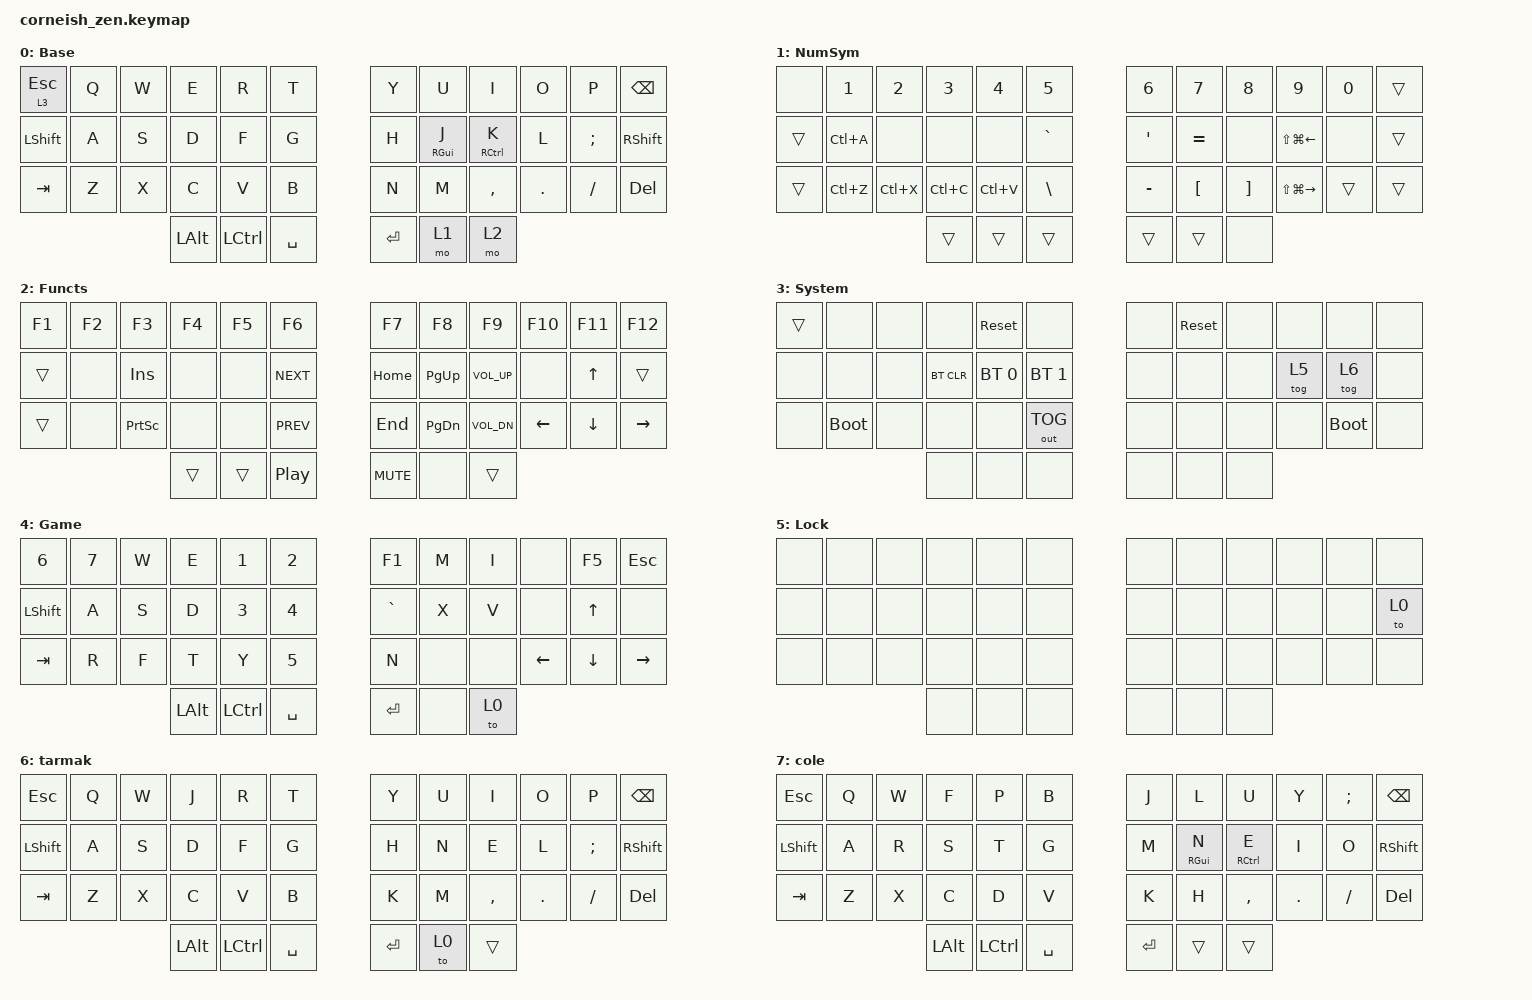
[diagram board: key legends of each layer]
#include <behaviors.dtsi>
#include <dt-bindings/zmk/bt.h>
#include <dt-bindings/zmk/keys.h>
#include <dt-bindings/zmk/outputs.h>

#define KEYS_L 0 1 2 3 4 5 12 13 14 15 16 17 24 25 26 27 28 29  // Left-hand keys
#define KEYS_R 6 7 8 9 10 11 18 19 20 21 22 23 30 31 32 33 34 35  // Right-hand keys
#define THUMBS 36 37 38 39 40 41  // Thumb keys

// #define QWERTY 0
// #define NUMSYM 1
// #define CONFIG 2
// #define SYSTEM 3
// #define GAMING 4
// #define LOCKED 5

/ {
    chosen {
        zmk,matrix_transform = &default_transform;

        //only relevant for 3x5 keyboards, otherwise leave commented
        //zmk,matrix_transform = &five_column_transform;
    };
};

&lt {
    quick-tap-ms = <350>;
    flavor = "tap-preferred";
    global-quick-tap;
    tapping-term-ms = <175>;
};

/ {
    behaviors {
        hm: homerow_mods {
            compatible = "zmk,behavior-hold-tap";
            label = "hm_mods";
            #binding-cells = <2>;
            tapping_term_ms = <200>;
            flavor = "tap-preferred";
            quick-tap-ms = <125>;
            global-quick-tap;
            bindings = <&kp>, <&kp>;
        };

        td_mt: tap_dance_mod_tap {
            compatible = "zmk,behavior-tap-dance";
            label = "TAP_DANCE_MOD_TAP";
            #binding-cells = <0>;
            tapping-term-ms = <150>;

            //in order: single press, double tap

            bindings = <&kp Z>, <&tog 5>;
        };
    };

    keymap {
        compatible = "zmk,keymap";

        default_layer {
            label = "Base";

            // ╭─────────────┬─────────────┬─────────────┬─────────────┬─────────────┬─────────────╮  ╭─────────────┬─────────────┬─────────────┬─────────────┬─────────────┬─────────────╮
            // ├ ESC/layer3  ┼      Q      ┼      W      ┼      E      ┼      R      ┼      T      ┤ ├      Y      ┼      U      ┼      I      ┼      O      ┼      P      ┼  BACKSPACE  ┤
            // ├─────────────┼─────────────┼─────────────┼─────────────┼─────────────┼─────────────┤ ├─────────────┼─────────────┼─────────────┼─────────────┼─────────────┼─────────────┤
            // ├   LSHIFT    ┼      A      ┼      S      ┼      D      ┼      F      ┼      G      ┤ ├      H      ┼    RWIN/J   ┼   RCTRL/K   ┼      L      ┼      ;      ┼   RSHIFT    ┤
            // ├─────────────┼─────────────┼─────────────┼─────────────┼─────────────┼─────────────┤ ├─────────────┼─────────────┼─────────────┼─────────────┼─────────────┼─────────────┤
            // ├     TAB     ┼      Z      ┼      X      ┼      C      ┼      V      ┼      B      ┤ ├      N      ┼      M      ┼      ,      ┼      .      ┼      /      ┼   DELETE    ┤
            // ╰───────────────────────────┴─────────────┼─────────────┼─────────────┼─────────────┤ ├─────────────┼─────────────┼─────────────┼─────────────┴───────────────────────────╯
            //                                           ├     LALT    ┼    LCTRL    ┼    SPACE    ┤ ├    ENTER    ┼   layer1    ┼    layer2   ┤
            //                                           ╰─────────────┴─────────────┴─────────────╯ ╰─────────────┴─────────────┴─────────────╯

            bindings = <
&lt 3 ESC  &kp Q  &kp W  &kp E     &kp R      &kp T        &kp Y    &kp U       &kp I        &kp O    &kp P     &kp BSPC
&kp LSHFT  &kp A  &kp S  &kp D     &kp F      &kp G        &kp H    &hm RGUI J  &hm RCTRL K  &kp L    &kp SEMI  &kp RSHFT
&kp TAB    &kp Z  &kp X  &kp C     &kp V      &kp B        &kp N    &kp M       &kp COMMA    &kp DOT  &kp FSLH  &kp DEL
                         &kp LALT  &kp LCTRL  &kp SPACE    &kp RET  &mo 1       &mo 2
            >;
        };

        num_layer {
            label = "NumSym";

            // ╭─────────────┬─────────────┬─────────────┬─────────────┬─────────────┬─────────────╮  ╭─────────────┬─────────────┬─────────────┬─────────────┬─────────────┬─────────────╮
            // ├             ┼      1      ┼     2/@     ┼      3      ┼      4      ┼      5      ┤ ├      6      ┼      7      ┼      8      ┼      9      ┼      0      ┼  BACKSPACE  ┤
            // ├─────────────┼─────────────┼─────────────┼─────────────┼─────────────┼─────────────┤ ├─────────────┼─────────────┼─────────────┼─────────────┼─────────────┼─────────────┤
            // ├   LSHIFT    ┼             ┼             ┼             ┼             ┼      `      ┤ ├      '      ┼      =      ┼             ┼             ┼      ;      ┼   RSHIFT    ┤
            // ├─────────────┼─────────────┼─────────────┼─────────────┼─────────────┼─────────────┤ ├─────────────┼─────────────┼─────────────┼─────────────┼─────────────┼─────────────┤
            // ├             ┼             ┼             ┼             ┼             ┼      \      ┤ ├      -      ┼      [      ┼      ]      ┼      .      ┼      /      ┼   DELETE    ┤
            // ╰───────────────────────────┴─────────────┼─────────────┼─────────────┼─────────────┤ ├─────────────┼─────────────┼─────────────┼─────────────┴───────────────────────────╯
            //                                           ├     LALT    ┼    LCTRL    ┼    SPACE    ┤ ├    ENTER    ┼     Base    ┼             ┤
            //                                           ╰─────────────┴─────────────┴─────────────╯ ╰─────────────┴─────────────┴─────────────╯

            bindings = <
&none   &kp N1     &kp N2     &kp N3     &kp N4     &kp N5       &kp N6     &kp N7     &kp N8    &kp N9             &kp N0  &trans
&trans  &kp LC(A)  &none      &none      &none      &kp GRAVE    &kp SQT    &kp EQUAL  &none     &kp LS(LG(LEFT))   &none   &trans
&trans  &kp LC(Z)  &kp LC(X)  &kp LC(C)  &kp LC(V)  &kp BSLH     &kp MINUS  &kp LBKT   &kp RBKT  &kp LS(LG(RIGHT))  &trans  &trans
                              &trans     &trans     &trans       &trans     &trans     &none
            >;
        };

        config_layer {
            label = "Functs";

            // ╭─────────────┬─────────────┬─────────────┬─────────────┬─────────────┬─────────────╮  ╭─────────────┬─────────────┬─────────────┬─────────────┬─────────────┬─────────────╮
            // ├      F1     ┼      F2     ┼      F3     ┼      F4     ┼      F5     ┼      F6     ┤ ├     F7      ┼     F8      ┼      F9     ┼    F10      ┼    F11      ┼     F12     ┤
            // ├─────────────┼─────────────┼─────────────┼─────────────┼─────────────┼─────────────┤ ├─────────────┼─────────────┼─────────────┼─────────────┼─────────────┼─────────────┤
            // ├   LSHIFT    ┼    INSERT   ┼             ┼  MediaPrev  ┼  MediaNext  ┼    Vol Up   ┤ ├    PGUP     ┼    HOME     ┼             ┼             ┼     UP      ┼   RSHIFT    ┤
            // ├─────────────┼─────────────┼─────────────┼─────────────┼─────────────┼─────────────┤ ├─────────────┼─────────────┼─────────────┼─────────────┼─────────────┼─────────────┤
            // ├             ┼             ┼             ┼             ┼             ┼    Vol Dn   ┤ ├    PGDN     ┼    END      ┼             ┼    LEFT     ┼    DOWN     ┼    RIGHT    ┤
            // ╰───────────────────────────┴─────────────┼─────────────┼─────────────┼─────────────┤ ├─────────────┼─────────────┼─────────────┼─────────────┴───────────────────────────╯
            //                                           ├     LALT    ┼    LCTRL    ┼             ┤ ├    Mute     ┼             ┼     Base    ┤
            //                                           ╰─────────────┴─────────────┴─────────────╯ ╰─────────────┴─────────────┴─────────────╯

            bindings = <
&kp F1  &kp F2  &kp F3           &kp F4  &kp F5  &kp F6        &kp F7      &kp F8     &kp F9           &kp F10   &kp F11   &kp F12
&trans  &none   &kp INS          &none   &none   &kp C_NEXT    &kp HOME    &kp PG_UP  &kp C_VOLUME_UP  &none     &kp UP    &trans
&trans  &none   &kp PRINTSCREEN  &none   &none   &kp C_PREV    &kp END     &kp PG_DN  &kp C_VOL_DN     &kp LEFT  &kp DOWN  &kp RIGHT
                                 &trans  &trans  &kp C_PP      &kp C_MUTE  &none      &trans
            >;
        };

        system_layer {
            label = "System";

            // ╭─────────────┬─────────────┬─────────────┬─────────────┬─────────────┬─────────────╮  ╭─────────────┬─────────────┬─────────────┬─────────────┬─────────────┬─────────────╮
            // ├    Base     ┼             ┼             ┼             ┼  Soft Reset ┼             ┤ ├             ┼ Soft Reset  ┼             ┼             ┼             ┼             ┤
            // ├─────────────┼─────────────┼─────────────┼─────────────┼─────────────┼─────────────┤ ├─────────────┼─────────────┼─────────────┼─────────────┼─────────────┼─────────────┤
            // ├             ┼             ┼             ┼  BT CLEAR   ┼    BT 0     ┼     BT 1    ┤ ├             ┼             ┼             ┼    LOCK     ┼             ┼             ┤
            // ├─────────────┼─────────────┼─────────────┼─────────────┼─────────────┼─────────────┤ ├─────────────┼─────────────┼─────────────┼─────────────┼─────────────┼─────────────┤
            // ├             ┼  BOOTLOADER ┼             ┼             ┼             ┼  Output Tog ┤ ├             ┼             ┼             ┼             ┼  BOOTLOADER ┼             ┤
            // ╰───────────────────────────┴─────────────┼─────────────┼─────────────┼─────────────┤ ├─────────────┼─────────────┼─────────────┼─────────────┴───────────────────────────╯
            //                                           ├             ┼             ┼             ┤ ├             ┼             ┼             ┤
            //                                           ╰─────────────┴─────────────┴─────────────╯ ╰─────────────┴─────────────┴─────────────╯

            bindings = <
&trans  &none        &none  &none       &sys_reset    &none           &none  &sys_reset  &none  &none   &none        &none
&none   &none        &none  &bt BT_CLR  &bt BT_SEL 0  &bt BT_SEL 1    &none  &none       &none  &tog 5  &tog 6       &none
&none   &bootloader  &none  &none       &none         &out OUT_TOG    &none  &none       &none  &none   &bootloader  &none
                            &none       &none         &none           &none  &none       &none
            >;
        };

        gaming_layer {
            label = "Game";

            // using default key bindings for Witcher 3 Enhanced Edition Redux but remapped most commonly used options on the left half for easy use
            // mouse5 is interact, mouse4 is night vision so no need to bind those.  mouse3 rebound to shoot bomb/arrow.
            // E: witcher senses (out of combat)/parrying (combat), WASD: self-explanatory
            // 6: draw/sheathe steel, 7: draw/sheathe silver
            // 1: select aard (knockback), 2: igni (fire) - will be the 2 most commonly used witcher signs anyway, 3-5: other less used witcher signs
            // note Q is now unnecessary since signs are quick cast
            // LCTRL (mid attack distance mod) / LALT (roll) / LSHIFT (sprint/long attack distance mod)/ SPACE (dodge/swim surface) in their usual positions
            // tab: access quick item menu
            // X: call/stop horse, V: swim dive, `: crossbow/bomb choose
            // RFTY: consumable slot 1-4, I: inventory (and can click through the skill trees and all those other menus from there)
            // ESC: menu, F5: Quicksave, F1: read item/set new quest target
            // N: meditate
            // ╭─────────────┬─────────────┬─────────────┬─────────────┬─────────────┬─────────────╮  ╭─────────────┬─────────────┬─────────────┬─────────────┬─────────────┬─────────────╮
            // ├      6      ┼      7      ┼      W      ┼      E      ┼      1      ┼      2      ┤ ├     F1      ┼      M      ┼      I      ┼             ┼     F5      ┼     ESC     ┤
            // ├─────────────┼─────────────┼─────────────┼─────────────┼─────────────┼─────────────┤ ├─────────────┼─────────────┼─────────────┼─────────────┼─────────────┼─────────────┤
            // ├   LSHIFT    ┼      A      ┼      S      ┼      D      ┼      3      ┼      4      ┤ ├      `      ┼      X      ┼      V      ┼             ┼     UP      ┼             ┤
            // ├─────────────┼─────────────┼─────────────┼─────────────┼─────────────┼─────────────┤ ├─────────────┼─────────────┼─────────────┼─────────────┼─────────────┼─────────────┤
            // ├    TAB      ┼      R      ┼      F      ┼      T      ┼     	Y      ┼      5      ┤ ├      N      ┼             ┼             ┼     LEFT    ┼    DOWN     ┼    RIGHT    ┤
            // ╰───────────────────────────┴─────────────┼─────────────┼─────────────┼─────────────┤ ├─────────────┼─────────────┼─────────────┼─────────────┴───────────────────────────╯
            //                                           ├    LALT     ┼    LCTRL    ┼    SPACE    ┤ ├   ENTER     ┼             ┼    base     ┤
            //                                           ╰─────────────┴─────────────┴─────────────╯ ╰─────────────┴─────────────┴─────────────╯

            bindings = <
&kp N6     &kp N7  &kp W  &kp E     &kp N1     &kp N2       &kp F1     &kp M  &kp I  &none     &kp F5    &kp ESC
&kp LSHFT  &kp A   &kp S  &kp D     &kp N3     &kp N4       &kp GRAVE  &kp X  &kp V  &none     &kp UP    &none
&kp TAB    &kp R   &kp F  &kp T     &kp Y      &kp N5       &kp N      &none  &none  &kp LEFT  &kp DOWN  &kp RIGHT
                          &kp LALT  &kp LCTRL  &kp SPACE    &kp RET    &none  &to 0
            >;
        };

        locked_layer {
            label = "Lock";

            // ╭─────────────┬─────────────┬─────────────┬─────────────┬─────────────┬─────────────╮ ╭─────────────┬─────────────┬─────────────┬─────────────┬─────────────┬─────────────╮
            // ├             ┼             ┼             ┼             ┼             ┼             ┤ ├             ┼             ┼             ┼             ┼             ┼             ┤
            // ├─────────────┼─────────────┼─────────────┼─────────────┼─────────────┼─────────────┤ ├─────────────┼─────────────┼─────────────┼─────────────┼─────────────┼─────────────┤
            // ├             ┼             ┼             ┼             ┼             ┼             ┤ ├             ┼             ┼             ┼             ┼             ┼     BASE    ┤
            // ├─────────────┼─────────────┼─────────────┼─────────────┼─────────────┼─────────────┤ ├─────────────┼─────────────┼─────────────┼─────────────┼─────────────┼─────────────┤
            // ├             ┼             ┼             ┼             ┼             ┼             ┤ ├             ┼             ┼             ┼             ┼             ┼             ┤
            // ╰───────────────────────────┴─────────────┼─────────────┼─────────────┼─────────────┤ ├─────────────┼─────────────┼─────────────┼─────────────┴───────────────────────────╯
            //                                           ├             ┼             ┼             ┤ ├             ┼             ┼             ┤
            //                                           ╰─────────────┴─────────────┴─────────────╯ ╰─────────────┴─────────────┴─────────────╯

            bindings = <
&none  &none  &none  &none  &none  &none    &none  &none  &none  &none  &none  &none
&none  &none  &none  &none  &none  &none    &none  &none  &none  &none  &none  &to 0
&none  &none  &none  &none  &none  &none    &none  &none  &none  &none  &none  &none
                     &none  &none  &none    &none  &none  &none
            >;
        };

        tarmak_lv1 {
            bindings = <
&kp ESC    &kp Q  &kp W  &kp J     &kp R      &kp T        &kp Y    &kp U  &kp I      &kp O    &kp P     &kp BSPC
&kp LSHFT  &kp A  &kp S  &kp D     &kp F      &kp G        &kp H    &kp N  &kp E      &kp L    &kp SEMI  &kp RSHFT
&kp TAB    &kp Z  &kp X  &kp C     &kp V      &kp B        &kp K    &kp M  &kp COMMA  &kp DOT  &kp FSLH  &kp DEL
                         &kp LALT  &kp LCTRL  &kp SPACE    &kp RET  &to 0  &trans
            >;

            label = "tarmak";
        };

        colemak_dh {
            bindings = <
&kp ESC    &kp Q  &kp W  &kp F     &kp P      &kp B        &kp J    &kp L       &kp U        &kp Y    &kp SEMI  &kp BSPC
&kp LSHFT  &kp A  &kp R  &kp S     &kp T      &kp G        &kp M    &hm RGUI N  &hm RCTRL E  &kp I    &kp O     &kp RSHFT
&kp TAB    &kp Z  &kp X  &kp C     &kp D      &kp V        &kp K    &kp H       &kp COMMA    &kp DOT  &kp FSLH  &kp DEL
                         &kp LALT  &kp LCTRL  &kp SPACE    &kp RET  &trans      &trans
            >;

            label = "cole";
        };
    };
};
